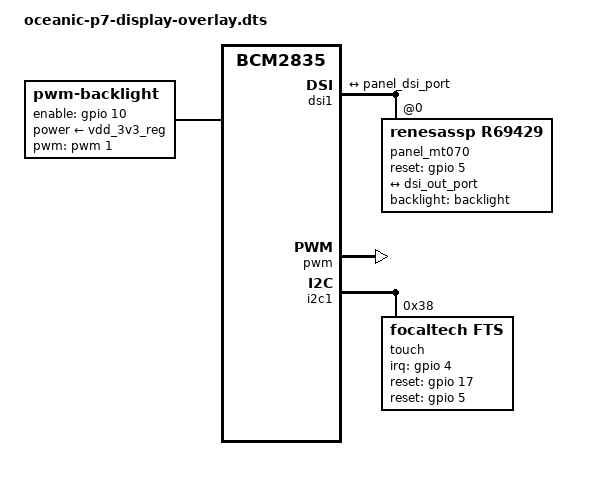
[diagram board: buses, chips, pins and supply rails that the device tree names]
/dts-v1/;
/plugin/;

#include <dt-bindings/pwm/pwm.h>

/ {
    compatible = "brcm,bcm2835";

	fragment@0 {
		target = <&dsi1>;
		__overlay__ {
			#address-cells = <1>; size-cells = <0>;
			status = "okay";
			port {
				dsi_out_port: endpoint {
					remote-endpoint = <&panel_dsi_port>;
				};
			};
		};
	};

	fragment@1 {
		target = <&dsi1>;
		__overlay__ {
			#address-cells = <1>;
			#size-cells = <0>;
			status = "okay";

			panel_mt070:panel@0 {
				compatible = "renesassp,r69429";
				reset-gpios = <&gpio 5 0>;
				reg = <0>;
				backlight = <&backlight>;
				port {
					panel_dsi_port: endpoint {
						remote-endpoint = <&dsi_out_port>;
					  };
				  };
			  };
		  };
	};

  fragment@2 {
    target = <&gpio>;
    __overlay__ {
            pwm_pins: pwm_pins {
                    brcm,pins = <13 10>;
                    brcm,function = <4 1>;//alt0 to select PWM0
                    bcrm,pull = <2 2>;
            };
            bl_pins: bl_pins {
                    brcm,pins = <10>;
                    brcm,function = <1>;//gpio out
            };
            touch_pins: touch_pins {
                    brcm,pins = <4 17>; //4 == CTP_INT // 17=!CTP_RST // 11 - EN
                    brcm,function = <0 1>; // gpio in out
                    brcm,pull = <2 2>; // pull up up
            };
    };
  };


  fragment@3 {
    target = <&pwm>;
    frag1: __overlay__ {
            pinctrl-names = "default";
            pinctrl-0 = <&pwm_pins>;
            assigned-clock-rates = <100000000>;
            status = "okay";
    };
  };

  fragment@4 {
    target-path = "/soc";
    __overlay__ {
         backlight: backlight {
            compatible = "pwm-backlight";
            brightness-levels = <255 0>;
            num-interpolated-steps = <255>;
            default-brightness-level = <50>;
            pwms = <&pwm 1 200000>;
            enable-gpios = <&gpio 10 0>;
            power-supply = <&vdd_3v3_reg>;
            status = "okay";
          };
    };
  };
  fragment@5 {
    target = <&i2c1>;
    __overlay__ {
            #address-cells = <1>;
            #size-cells = <0>;
            status = "okay";
            touch: gt911@38 {
                    compatible = "focaltech,fts";
                    reg = <0x38>;
                    pinctrl-names = "default";
                    pinctrl-0 = <&touch_pins>;
                    interrupt-parent = <&gpio>;
                    interrupts = <4 2>;
                    irq-gpios = <&gpio 4 0>;
                    touchscreen-size-x = <1200>;
                    touchscreen-size-y = <1920>;
                    reset-gpios = <&gpio 17 0>;
                    focaltech,reset-gpio = <&gpio 5 0>;
                    focaltech,irq-gpio = <&gpio 4 0>;
                    focaltech,max-touch-number = <5>;
                    focaltech,display-coords =  <0 0 1200 1920>;
            };
    };
  };
};
